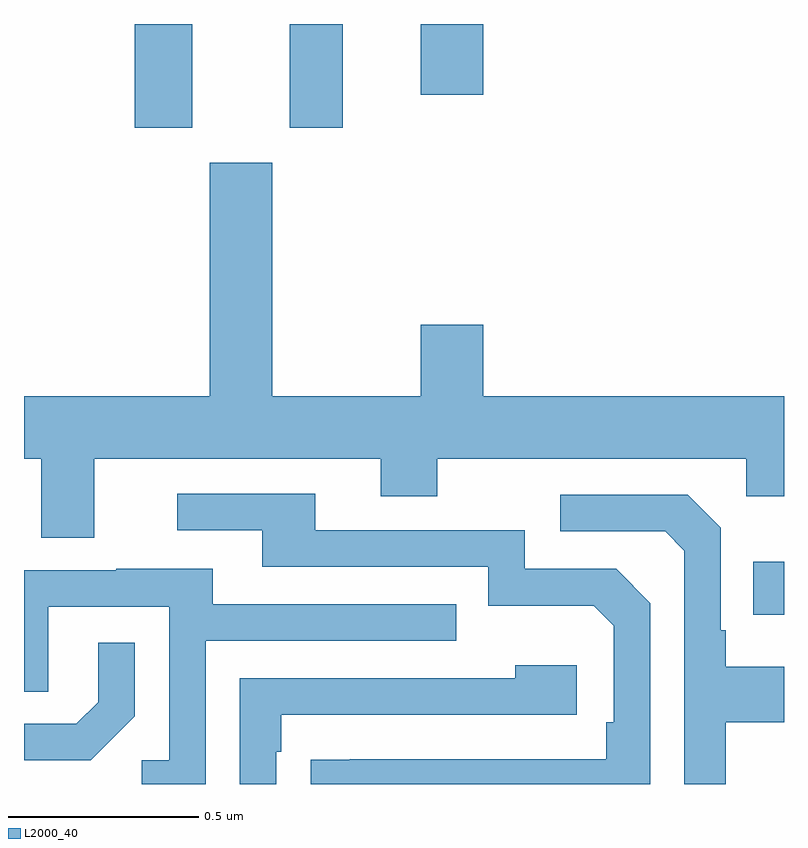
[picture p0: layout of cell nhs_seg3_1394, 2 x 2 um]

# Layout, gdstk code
import gdstk
lib = gdstk.Library(unit=1e-6, precision=1e-09)
def R(c, l, rs):  # rectangles x0, y0, x1, y1
    for r in rs: c.add(gdstk.rectangle(r[:2], r[2:], *l))
def P(c, l, *ps):  # polygons
    for p in ps: c.add(gdstk.Polygon(p, *l))
L2000_40 = (2000, 40)

nhs_seg3_1394 = lib.new_cell('nhs_seg3_1394')
R(nhs_seg3_1394, L2000_40, [(129.919,693.845,130,693.985), (128.291,695.127,128.443,695.4), (128.699,695.127,128.839,695.4), (129.044,695.214,129.208,695.4)])
P(nhs_seg3_1394, L2000_40, [(128.185,694.256),(128.939,694.256),(128.939,694.157),(129.087,694.157),(129.087,694.256),(129.9,694.256),(129.9,694.157),(130,694.157),(130,694.42),(129.208,694.42),(129.208,694.609),(129.044,694.609),(129.044,694.42),(128.653,694.42),(128.653,695.035),(128.489,695.035),(128.489,694.42),(128,694.42),(128,694.256),(128.045,694.256),(128.045,694.048),(128.185,694.048)],
  [(129.648,693.876),(129.558,693.966),(129.318,693.966),(129.318,694.068),(128.767,694.068),(128.767,694.164),(128.403,694.164),(128.403,694.068),(128.627,694.068),(128.627,693.972),(129.222,693.972),(129.222,693.869),(129.499,693.869),(129.552,693.816),(129.552,693.562),(129.532,693.562),(129.532,693.465),(128.857,693.465),(128.857,693.464),(128.755,693.464),(128.755,693.4),(129.648,693.4)],
  [(129.847,693.562),(130,693.562),(130,693.709),(129.847,693.709),(129.847,693.805),(129.834,693.805),(129.834,694.074),(129.747,694.161),(129.411,694.161),(129.411,694.065),(129.687,694.065),(129.738,694.014),(129.738,693.4),(129.847,693.4)],
  [(128.478,693.777),(129.137,693.777),(129.137,693.873),(128.497,693.873),(128.497,693.967),(128.243,693.967),(128.243,693.963),(128,693.963),(128,693.643),(128.064,693.643),(128.064,693.867),(128.382,693.867),(128.382,693.462),(128.31,693.462),(128.31,693.4),(128.478,693.4)],
  [(128.292,693.578),(128.292,693.772),(128.195,693.772),(128.195,693.615),(128.138,693.558),(128,693.558),(128,693.462),(128.176,693.462)],
  [(128.664,693.485),(128.677,693.485),(128.677,693.582),(129.454,693.582),(129.454,693.712),(129.293,693.712),(129.293,693.678),(128.568,693.678),(128.568,693.4),(128.664,693.4)])

lib.write_gds('nhs_seg3_1394.gds')
